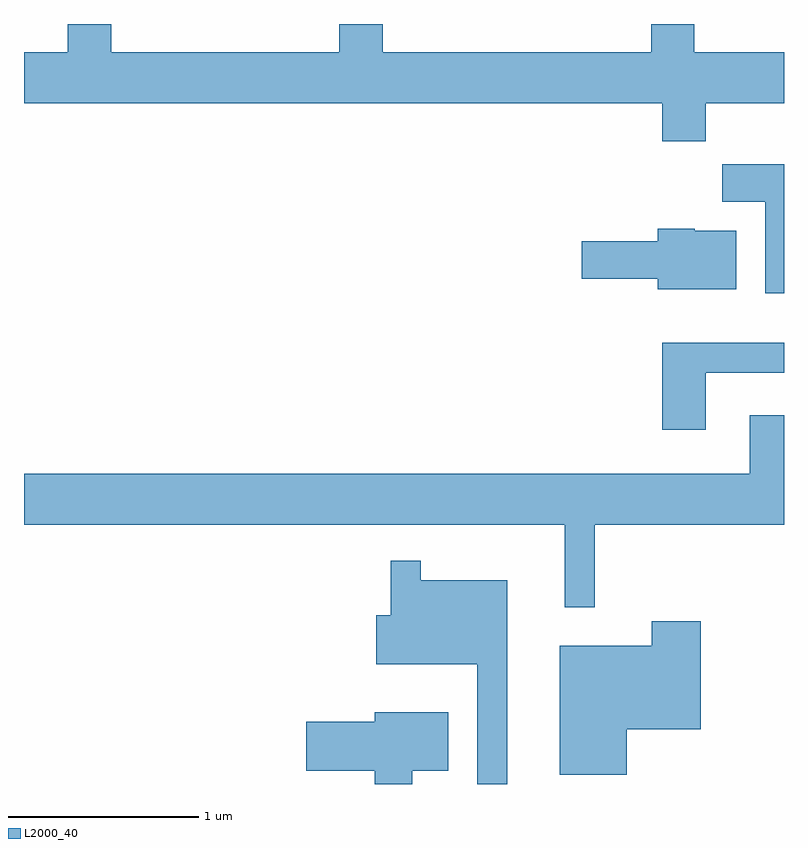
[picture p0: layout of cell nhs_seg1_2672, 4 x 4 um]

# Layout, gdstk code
import gdstk
lib = gdstk.Library(unit=1e-6, precision=1e-09)
def P(c, l, *ps):  # polygons
    for p in ps: c.add(gdstk.Polygon(p, *l))
L2000_40 = (2000, 40)

nhs_seg1_2672 = lib.new_cell('nhs_seg1_2672')
P(nhs_seg1_2672, L2000_40, [(269.199,957.296),(269.611,957.296),(269.611,957.564),(269.139,957.564),(269.139,957.712),(268.911,957.712),(268.911,957.564),(267.499,957.564),(267.499,957.712),(267.271,957.712),(267.271,957.564),(266.069,957.564),(266.069,957.712),(265.841,957.712),(265.841,957.564),(265.611,957.564),(265.611,957.296),(268.971,957.296),(268.971,957.096),(269.199,957.096)],
  [(269.611,956.974),(269.286,956.974),(269.286,956.776),(269.511,956.776),(269.511,956.296),(269.611,956.296)],
  [(269.359,956.624),(269.14,956.624),(269.14,956.634),(268.946,956.634),(268.946,956.569),(268.546,956.569),(268.546,956.371),(268.946,956.371),(268.946,956.316),(269.359,956.316)],
  [(269.199,955.876),(269.611,955.876),(269.611,956.034),(268.971,956.034),(268.971,955.576),(269.199,955.576)],
  [(268.614,955.076),(269.611,955.076),(269.611,955.654),(269.431,955.654),(269.431,955.344),(265.611,955.344),(265.611,955.076),(268.456,955.076),(268.456,954.643),(268.614,954.643)],
  [(268.154,954.784),(267.699,954.784),(267.699,954.888),(267.541,954.888),(267.541,954.599),(267.466,954.599),(267.466,954.341),(267.996,954.341),(267.996,953.712),(268.154,953.712)],
  [(268.784,954.001),(269.174,954.001),(269.174,954.569),(268.916,954.569),(268.916,954.439),(268.431,954.439),(268.431,953.761),(268.784,953.761)],
  [(267.654,953.781),(267.844,953.781),(267.844,954.089),(267.456,954.089),(267.456,954.039),(267.096,954.039),(267.096,953.781),(267.456,953.781),(267.456,953.712),(267.654,953.712)])

lib.write_gds('nhs_seg1_2672.gds')
